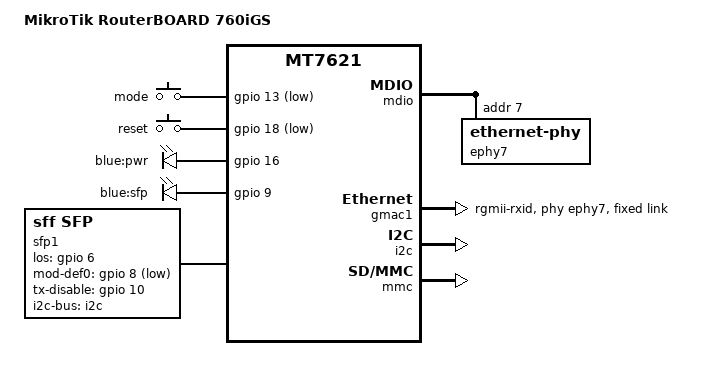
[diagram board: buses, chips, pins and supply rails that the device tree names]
// SPDX-License-Identifier: GPL-2.0-or-later OR MIT
/dts-v1/;

#include "mt7621.dtsi"

#include <dt-bindings/input/input.h>
#include <dt-bindings/gpio/gpio.h>

/ {
	compatible = "mikrotik,routerboard-760igs", "mediatek,mt7621-soc";
	model = "MikroTik RouterBOARD 760iGS";

	chosen {
		bootargs = "console=ttyS0,115200";
	};

	keys: keys {
		compatible = "gpio-keys";

		key-mode {
			label = "mode";
			gpios = <&gpio 13 GPIO_ACTIVE_LOW>;
			linux,code = <BTN_0>;
		};

		key-reset {
			label = "reset";
			gpios = <&gpio 18 GPIO_ACTIVE_LOW>;
			linux,code = <KEY_RESTART>;
		};
	};

	aliases {
		led-boot = &led_pwr;
		led-failsafe = &led_pwr;
		led-running = &led_pwr;
		led-upgrade = &led_pwr;
	};

	leds {
		compatible = "gpio-leds";

		led_pwr: led-pwr {
			label = "blue:pwr";
			gpios = <&gpio 16 GPIO_ACTIVE_HIGH>;
			default-state = "on";
		};

		led-sfp {
			label = "blue:sfp";
			gpios = <&gpio 9 GPIO_ACTIVE_HIGH>;
		};
	};

	sfp1: sfp1 {
		compatible = "sff,sfp";
		i2c-bus = <&i2c>;
		los-gpios = <&gpio 6 GPIO_ACTIVE_HIGH>;
		mod-def0-gpios = <&gpio 8 GPIO_ACTIVE_LOW>;
		tx-disable-gpios = <&gpio 10 GPIO_ACTIVE_HIGH>;
		maximum-power-milliwatt = <1000>;
	};
};

&mdio {
	ephy7: ethernet-phy@7 {
		reg = <7>;
		sfp = <&sfp1>;
	};
};

&gmac1 {
	phy-mode = "rgmii-rxid";
	phy-handle = <&ephy7>;

	fixed-link {
		status = "disabled";
	};
};

&i2c {
	status = "okay";
};

&switch0 {
	ports {
		port@0 {
			status = "okay";
			label = "wan";
		};

		port@1 {
			status = "okay";
			label = "lan2";
		};

		port@2 {
			status = "okay";
			label = "lan3";
		};

		port@3 {
			status = "okay";
			label = "lan4";
		};

		port@4 {
			status = "okay";
			label = "lan5";
		};

		port@5 {
			status = "disabled";
		};
	};
};

&mmc {
	status = "okay";
};
